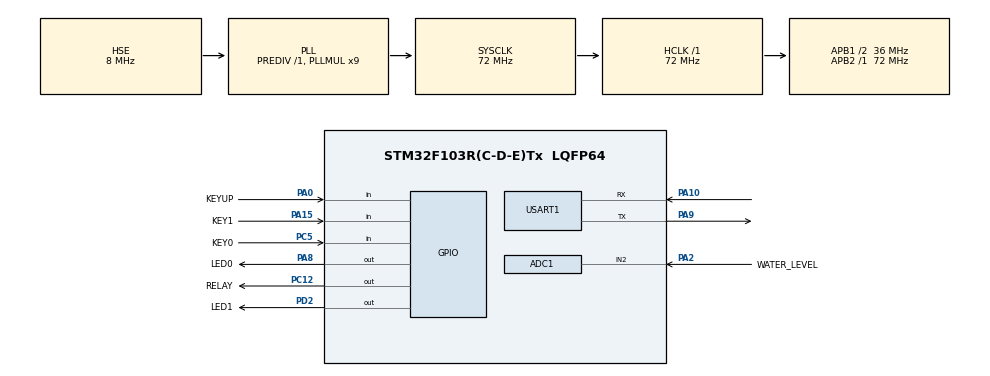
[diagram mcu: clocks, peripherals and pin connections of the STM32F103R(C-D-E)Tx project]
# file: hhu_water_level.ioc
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ADC1.Channel-0\#ChannelRegularConversion=ADC_CHANNEL_2
ADC1.NbrOfConversion=1
ADC1.NbrOfConversionFlag=1
ADC1.Rank-0\#ChannelRegularConversion=1
ADC1.SamplingTime-0\#ChannelRegularConversion=ADC_SAMPLETIME_1CYCLE_5
ADC1.master=1
Mcu.Family=STM32F1
Mcu.Name=STM32F103R(C-D-E)Tx
Mcu.Package=LQFP64
NVIC.PriorityGroup=NVIC_PRIORITYGROUP_4
NVIC.TIM1_UP_IRQn=true\:0\:0\:false\:false\:true\:true\:true\:true
PA0-WKUP.GPIO_Label=KEYUP
PA0-WKUP.Signal=GPIO_Input
PA10.Mode=Asynchronous
PA10.Signal=USART1_RX
PA13.Mode=Trace_Asynchronous_SW
PA13.Signal=SYS_JTMS-SWDIO
PA14.Mode=Trace_Asynchronous_SW
PA14.Signal=SYS_JTCK-SWCLK
PA15.GPIO_Label=KEY1
PA15.Signal=GPIO_Input
PA2.GPIO_Label=WATER_LEVEL
PA2.Signal=ADCx_IN2
PA8.GPIO_Label=LED0
PA8.Signal=GPIO_Output
PA9.Mode=Asynchronous
PA9.Signal=USART1_TX
PB3.Mode=Trace_Asynchronous_SW
PB3.Signal=SYS_JTDO-TRACESWO
PC12.GPIO_Label=RELAY
PC12.Signal=GPIO_Output
PC5.GPIO_Label=KEY0
PC5.Signal=GPIO_Input
PD0-OSC_IN.Mode=HSE-External-Oscillator
PD0-OSC_IN.Signal=RCC_OSC_IN
PD1-OSC_OUT.Mode=HSE-External-Oscillator
PD1-OSC_OUT.Signal=RCC_OSC_OUT
PD2.GPIO_Label=LED1
PD2.Signal=GPIO_Output
ProjectManager.HeapSize=0x200
ProjectManager.StackSize=0x400
ProjectManager.TargetToolchain=Makefile
RCC.ADCPresc=RCC_ADCPCLK2_DIV6
RCC.AHBFreq_Value=72000000
RCC.APB1CLKDivider=RCC_HCLK_DIV2
RCC.APB1Freq_Value=36000000
RCC.APB1TimFreq_Value=72000000
RCC.APB2Freq_Value=72000000
RCC.APB2TimFreq_Value=72000000
RCC.HCLKFreq_Value=72000000
RCC.PLLMUL=RCC_PLL_MUL9
RCC.PLLSourceVirtual=RCC_PLLSOURCE_HSE
RCC.SYSCLKFreq_VALUE=72000000
RCC.SYSCLKSource=RCC_SYSCLKSOURCE_PLLCLK
RCC.USBFreq_Value=72000000
SH.ADCx_IN2.0=ADC1_IN2,IN2
TIM1.AutoReloadPreload=TIM_AUTORELOAD_PRELOAD_ENABLE
TIM1.Period=200
TIM1.Prescaler=36000
TIM1.RepetitionCounter=0
USART1.VirtualMode=VM_ASYNC
VP_TIM1_VS_ClockSourceINT.Mode=Internal
board=custom

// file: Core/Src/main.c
/* USER CODE BEGIN Header */
/**
 ******************************************************************************
 * @file           : main.c
 * @brief          : Main program body
 ******************************************************************************
 * @attention
 *
 * Copyright (c) 2023 STMicroelectronics.
 * All rights reserved.
 *
 * This software is licensed under terms that can be found in the LICENSE file
 * in the root directory of this software component.
 * If no LICENSE file comes with this software, it is provided AS-IS.
 *
 ******************************************************************************
 */
/* USER CODE END Header */
#include "main.h"
#include "adc.h"
#include "tim.h"
#include "usart.h"
#include "gpio.h"

/* USER CODE BEGIN Includes */
#include <stdio.h>
#include "lcd.h"
#include "key.h"
#include "flash.h"
/* USER CODE END Includes */

/* USER CODE BEGIN PV */
typedef struct
{
  float boot_delay;
  float before_acq;
  float after_acq;
  // the system will not need to apply params, when -0.1 < need_start < 0.1,
  float need_start;
} delay_param_struct_typedef;

typedef struct
{
  float boot_delay_counter;
  float before_acq_counter;
  float after_acq_counter;
  float is_running;
} current_status_struct_typedef;

static delay_param_struct_typedef __attribute__((aligned(4))) delay_param_struct = {
    .boot_delay = 5.0f,
    .before_acq = 2.0f,
    .after_acq = 30.0f,
    .need_start = 0.0f};
float *delay_param_float_ptr = (float *)(&delay_param_struct); // the paramemter settings

static current_status_struct_typedef __attribute__((aligned(4))) current_status_struct = {
    .after_acq_counter = 5.0f,
    .before_acq_counter = 2.0f,
    .after_acq_counter = 30.0f,
    // the current system status
    .is_running = 0.0f};

static float *current_status_float_ptr = (float *)(&current_status_struct); // the current status

int32_t water_level_ad_value = -1;
int32_t water_level_ad_value_display = -1;

uint8_t is_modifyed = 0;
uint32_t magic_num = 0x0deadbeef;

/* USER CODE END PV */

void SystemClock_Config(void);
/* USER CODE BEGIN PFP */

#ifdef __GNUC__
int _write(int fd, char *ptr, int len)
{
  HAL_UART_Transmit(&huart1, (uint8_t *)ptr, len, 0xFFFF);
  return len;
}
#endif

/* USER CODE END PFP */

/* USER CODE BEGIN 0 */
int is_running(void)
{
  /*return 1 means running return 0 means not running*/
  if (current_status_struct.is_running > 0.5f)
    return 1;
  else
    return 0;
}

int key_dispacher(int key_code, float *delay_param_ptr, float *current_status, uint32_t *which)
{
  /*dispach the key code and modify the params. */

  if (is_running())
    // block the button when the system is running
    return -1;

  if (key_code == WKUP_PRES)
  {
    (*which)++;
    (*which) %= 4;
    // HAL_GPIO_TogglePin(LED0_GPIO_Port, LED0_Pin);
  }
  else if (key_code == KEY0_PRES)
  {
    delay_param_ptr[*which] += 1.0f;
    if (*which != 3)
      is_modifyed = 1;
    // HAL_GPIO_TogglePin(LED0_GPIO_Port, LED0_Pin);
  }
  else if (key_code == KEY1_PRES)
  {
    delay_param_ptr[*which] -= 1.0f;
    if (*which != 3)
      is_modifyed = 1;
    // HAL_GPIO_TogglePin(LED0_GPIO_Port, LED0_Pin);
  }

  /*write to the rom*/
  return 0;
};

void update_screen(float *delay_param_ptr, current_status_struct_typedef *current_status, uint32_t *which)
{
  /*Update the screen based on the current status*/
  char *param_string[] = {"Boot Delay(s)",
                          "Before Acq(s)",
                          "After Acq(s)",
                          "     [   Wait   ]",
                          "     [   Start  ]"};

  BACK_COLOR = BLACK;
  // display current paramemters in delay_param_ptr
  for (int i = 0; i < 3; i++)
  {
    POINT_COLOR = WHITE;
    // LCD_ShowString(30, 10 + 40 * i, 200, 24, 24, param_string[i]);             // display the param string
    LCD_ShowString(250, 10 + 40 * i, 50, 24, 24, "%4.1f", delay_param_ptr[i]); // display the param
    // show the counter if it is running
    if (is_running())
    {
      POINT_COLOR = PINK;
      LCD_ShowString(185, 10 + 40 * i, 50, 24, 24, "%4.1f", ((float *)current_status)[i]);
    }
    else
    {
      LCD_ShowString(185, 10 + 40 * i, 50, 24, 24, "    ");
    }
  }

  POINT_COLOR = WHITE;
  // instruct the current selected item >
  for (int i = 0; i < 4; i++)
  {
    if (*which == i)
      LCD_ShowString(5, 10 + 40 * i, 5, 24, 24, ">"); // instruct the current param
    else
      LCD_ShowString(5, 10 + 40 * i, 5, 24, 24, " "); // instruct the current param
  }

  // display the start stop button
  if (is_running())
    // the system is running, try to stop it
    LCD_ShowString(20, 130, 300, 24, 24, param_string[3]);
  else
    LCD_ShowString(20, 130, 300, 24, 24, param_string[4]);

  POINT_COLOR = LIGHTBLUE;
  // get the water levele value from the ad
  if (water_level_ad_value > 0)
    water_level_ad_value_display = water_level_ad_value;
  // show the ui
  LCD_ShowString(30, 190, 300, 24, 24, "A/D Value");
  // show the waterlevel
  if (water_level_ad_value_display > 0)
    LCD_ShowString(200, 190, 100, 24, 24, "%6.3f V", (float)water_level_ad_value_display * 3.3f / 4096.0f);
  else
    LCD_ShowString(200, 190, 100, 24, 24, "       ");
};

int perform_operation(delay_param_struct_typedef *delay_param_struct, current_status_struct_typedef *current_status)
{
  // if the status is not change, just return
  if (-0.25f < delay_param_struct->need_start && delay_param_struct->need_start < 0.25f)
    return 0;
  if (is_modifyed)
  {
    FLASH_Write(FLASH_SAVE_ADDR, (uint16_t *)&magic_num, sizeof(magic_num) / 2);
    FLASH_Write(FLASH_SAVE_ADDR + 16, (uint16_t *)delay_param_struct, sizeof(*delay_param_struct) / 2);
    is_modifyed = 0;
  }

  if (!is_running())
  {
    // Turn on the relay
    HAL_GPIO_WritePin(RELAY_GPIO_Port, RELAY_Pin, GPIO_PIN_SET);
    // start the timer
    HAL_TIM_Base_Start_IT(&htim1);
    // show the counters
    current_status->before_acq_counter = delay_param_struct->before_acq;
    current_status->after_acq_counter = delay_param_struct->after_acq;
    current_status->boot_delay_counter = delay_param_struct->boot_delay;
    current_status->is_running = 1.0f;
    water_level_ad_value_display = -1;
  }
  // else
  // {
  //   // TODO: CANCLE THE PROCESS
  //   printf("cancle\r\n");
  // }
  // restore the button status
  // delay_param_struct->need_start = 0.0f;
  return 0;
}
/* USER CODE END 0 */

int main(void)
{
  /* USER CODE BEGIN 1 */
  uint32_t which_param = 3; // the selected item
  uint32_t magic_tmp = 0;
  /* USER CODE END 1 */

  /* MCU Configuration--------------------------------------------------------*/

  /* Reset of all peripherals, Initializes the Flash interface and the Systick. */
  HAL_Init();

  /* Configure the system clock */
  SystemClock_Config();

  /* Initialize all configured peripherals */
  MX_GPIO_Init();
  MX_ADC1_Init();
  MX_TIM1_Init();
  MX_USART1_UART_Init();
  /* USER CODE BEGIN 2 */
  LCD_Init();
  KEY_Init();

  /* USER CODE END 2 */

  /* Infinite loop */
  /* USER CODE BEGIN WHILE */
  FLASH_Read(FLASH_SAVE_ADDR, (uint16_t *)&magic_tmp, sizeof(magic_tmp) / 2);
  if (magic_tmp == magic_num)
  {
    FLASH_Read(FLASH_SAVE_ADDR + 16, (uint16_t *)&delay_param_struct, sizeof(delay_param_struct) / 2);
    delay_param_struct.need_start = 0;
  }

  POINT_COLOR = DARKBLUE;
  BACK_COLOR = WHITE;
  LCD_ShowString(25, 100, 300, 24, 24, "Loading...");

  HAL_Delay((int)(delay_param_struct.boot_delay * 1000));
  POINT_COLOR = WHITE;
  BACK_COLOR = BLACK;
  LCD_Clear(BLACK);
  LCD_ShowString(30, 10, 200, 24, 24, "Boot Delay(s)");
  LCD_ShowString(30, 50, 200, 24, 24, "Before Acq(s)");
  LCD_ShowString(30, 90, 200, 24, 24, "After Acq(s)");
  POINT_COLOR = 0xad55; // rgb 565
  LCD_DrawLine(20, 45, 300, 45);
  LCD_DrawLine(20, 85, 300, 85);
  LCD_DrawLine(20, 125, 300, 125);
  LCD_DrawLine(20, 180, 300, 180);
  while (1)
  { // scan the keys to get the user operation
    uint8_t key_code = KEY_Scan(0);
    /* USER CODE END WHILE */

    /* USER CODE BEGIN 3 */
    // ===================== key dispach ==========================
    key_dispacher(key_code, delay_param_float_ptr, current_status_float_ptr, &which_param);
    // ======================= display ===========================
    update_screen(delay_param_float_ptr, &current_status_struct, &which_param);
    // ================== perform the operation ===================
    perform_operation(&delay_param_struct, &current_status_struct);
  }
  /* USER CODE END 3 */
}

void SystemClock_Config(void)
{
  RCC_OscInitTypeDef RCC_OscInitStruct = {0};
  RCC_ClkInitTypeDef RCC_ClkInitStruct = {0};
  RCC_PeriphCLKInitTypeDef PeriphClkInit = {0};

  /** Initializes the RCC Oscillators according to the specified parameters
   * in the RCC_OscInitTypeDef structure.
   */
  RCC_OscInitStruct.OscillatorType = RCC_OSCILLATORTYPE_HSE;
  RCC_OscInitStruct.HSEState = RCC_HSE_ON;
  RCC_OscInitStruct.HSEPredivValue = RCC_HSE_PREDIV_DIV1;
  RCC_OscInitStruct.HSIState = RCC_HSI_ON;
  RCC_OscInitStruct.PLL.PLLState = RCC_PLL_ON;
  RCC_OscInitStruct.PLL.PLLSource = RCC_PLLSOURCE_HSE;
  RCC_OscInitStruct.PLL.PLLMUL = RCC_PLL_MUL9;
  if (HAL_RCC_OscConfig(&RCC_OscInitStruct) != HAL_OK)
  {
    Error_Handler();
  }

  /** Initializes the CPU, AHB and APB buses clocks
   */
  RCC_ClkInitStruct.ClockType = RCC_CLOCKTYPE_HCLK | RCC_CLOCKTYPE_SYSCLK | RCC_CLOCKTYPE_PCLK1 | RCC_CLOCKTYPE_PCLK2;
  RCC_ClkInitStruct.SYSCLKSource = RCC_SYSCLKSOURCE_PLLCLK;
  RCC_ClkInitStruct.AHBCLKDivider = RCC_SYSCLK_DIV1;
  RCC_ClkInitStruct.APB1CLKDivider = RCC_HCLK_DIV2;
  RCC_ClkInitStruct.APB2CLKDivider = RCC_HCLK_DIV1;

  if (HAL_RCC_ClockConfig(&RCC_ClkInitStruct, FLASH_LATENCY_2) != HAL_OK)
  {
    Error_Handler();
  }
  PeriphClkInit.PeriphClockSelection = RCC_PERIPHCLK_ADC;
  PeriphClkInit.AdcClockSelection = RCC_ADCPCLK2_DIV6;
  if (HAL_RCCEx_PeriphCLKConfig(&PeriphClkInit) != HAL_OK)
  {
    Error_Handler();
  }
}

/* USER CODE BEGIN 4 */

void HAL_TIM_PeriodElapsedCallback(TIM_HandleTypeDef *htim)
{
  if (htim->Instance == TIM1)
  {
    // show running status
    // HAL_GPIO_TogglePin(LED0_GPIO_Port, LED0_Pin);

    // counter before the acquisition
    if (current_status_struct.before_acq_counter > 0.0f)
      current_status_struct.before_acq_counter -= 0.1f;
    else if (water_level_ad_value < 0)
    {
      // 2.4452
      // printf("acquire the water \r\n");
      current_status_struct.before_acq_counter = 0.0f;
      // acquire the water level
      water_level_ad_value = ADC_Read(&hadc1, 50);
      HAL_GPIO_WritePin(RELAY_GPIO_Port, RELAY_Pin, GPIO_PIN_RESET);
    }

    // counter after the acquisition
    if (current_status_struct.after_acq_counter > 0.0f && water_level_ad_value >= 0)
      current_status_struct.after_acq_counter -= 0.1f;

    // stop if all the things are done
    if (current_status_struct.after_acq_counter <= 0.0f && water_level_ad_value >= 0)
    {
      HAL_TIM_Base_Stop_IT(htim);
      current_status_struct.is_running = 0.0f;
      water_level_ad_value = -1;
    }
  }
}
/* USER CODE END 4 */

void Error_Handler(void)
{
  /* USER CODE BEGIN Error_Handler_Debug */
  /* User can add his own implementation to report the HAL error return state */
  __disable_irq();
  while (1)
  {
    printf("error\r\n");
  }
  /* USER CODE END Error_Handler_Debug */
}
